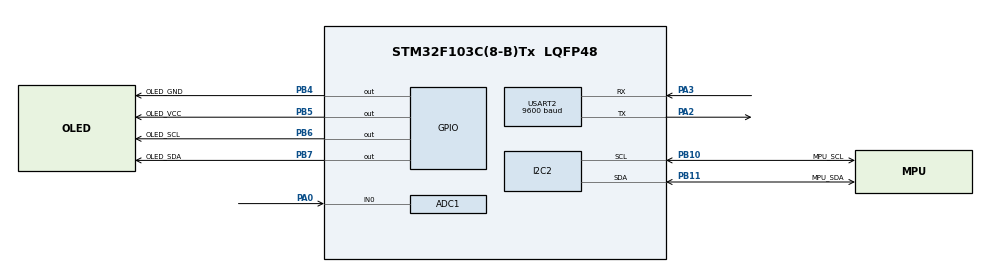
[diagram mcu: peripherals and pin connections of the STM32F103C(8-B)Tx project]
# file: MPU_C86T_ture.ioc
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ADC1.Channel-0\#ChannelRegularConversion=ADC_CHANNEL_0
ADC1.ContinuousConvMode=DISABLE
ADC1.NbrOfConversionFlag=1
ADC1.Rank-0\#ChannelRegularConversion=1
ADC1.SamplingTime-0\#ChannelRegularConversion=ADC_SAMPLETIME_1CYCLE_5
ADC1.master=1
Dma.ADC1.0.Direction=DMA_PERIPH_TO_MEMORY
Dma.ADC1.0.Instance=DMA1_Channel1
Dma.ADC1.0.MemDataAlignment=DMA_MDATAALIGN_HALFWORD
Dma.ADC1.0.MemInc=DMA_MINC_DISABLE
Dma.ADC1.0.Mode=DMA_CIRCULAR
Dma.ADC1.0.PeriphDataAlignment=DMA_PDATAALIGN_HALFWORD
Dma.ADC1.0.PeriphInc=DMA_PINC_DISABLE
Dma.ADC1.0.Priority=DMA_PRIORITY_LOW
Dma.Request0=ADC1
FREERTOS.BinarySemaphores01=myBinarySem01,Dynamic,NULL,Available
FREERTOS.CountingSemaphores01=myCountingSem01,2,Dynamic,NULL,0
FREERTOS.Mutexes01=OLED_State,Dynamic,NULL,Available;myMutex02,Dynamic,NULL,Available
FREERTOS.Queues01=myQueue01,1,uint16_t,0,Dynamic,NULL,NULL
FREERTOS.Tasks01=defaultTask,24,128,StartDefaultTask,Default,NULL,Dynamic,NULL,NULL;myTask02,24,128,StartTask02,Default,NULL,Dynamic,NULL,NULL;myTask03,8,128,StartTask03,Default,NULL,Dynamic,NULL,NULL
I2C2.I2C_Mode=I2C_Fast
Mcu.Family=STM32F1
Mcu.Name=STM32F103C(8-B)Tx
Mcu.Package=LQFP48
NVIC.DMA1_Channel1_IRQn=true\:5\:0\:false\:false\:true\:true\:false\:true\:true
NVIC.PriorityGroup=NVIC_PRIORITYGROUP_4
NVIC.TIM1_UP_IRQn=true\:15\:0\:false\:false\:true\:false\:false\:true\:true
NVIC.TimeBase=TIM1_UP_IRQn
NVIC.TimeBaseIP=TIM1
PA0-WKUP.Signal=ADCx_IN0
PA13.Mode=Serial_Wire
PA13.Signal=SYS_JTMS-SWDIO
PA14.Mode=Serial_Wire
PA14.Signal=SYS_JTCK-SWCLK
PA2.Mode=Asynchronous
PA2.Signal=USART2_TX
PA3.Mode=Asynchronous
PA3.Signal=USART2_RX
PB10.GPIO_Label=MPU_SCL
PB10.GPIO_Speed=GPIO_SPEED_FREQ_HIGH
PB10.Mode=I2C
PB10.Signal=I2C2_SCL
PB11.GPIO_Label=MPU_SDA
PB11.Mode=I2C
PB11.Signal=I2C2_SDA
PB4.GPIO_Label=OLED_GND
PB4.PinState=GPIO_PIN_RESET
PB4.Signal=GPIO_Output
PB5.GPIO_Label=OLED_VCC
PB5.PinState=GPIO_PIN_SET
PB5.Signal=GPIO_Output
PB6.GPIO_Label=OLED_SCL
PB6.GPIO_ModeDefaultOutputPP=GPIO_MODE_OUTPUT_OD
PB6.GPIO_PuPd=GPIO_NOPULL
PB6.PinState=GPIO_PIN_SET
PB6.Signal=GPIO_Output
PB7.GPIO_Label=OLED_SDA
PB7.GPIO_ModeDefaultOutputPP=GPIO_MODE_OUTPUT_OD
PB7.GPIO_PuPd=GPIO_NOPULL
PB7.PinState=GPIO_PIN_SET
PB7.Signal=GPIO_Output
PD0-OSC_IN.Mode=HSE-External-Oscillator
PD0-OSC_IN.Signal=RCC_OSC_IN
PD1-OSC_OUT.Mode=HSE-External-Oscillator
PD1-OSC_OUT.Signal=RCC_OSC_OUT
ProjectManager.HeapSize=0x200
ProjectManager.StackSize=0x400
ProjectManager.TargetToolchain=MDK-ARM V5
RCC.APB1Freq_Value=8000000
RCC.APB2Freq_Value=8000000
SH.ADCx_IN0.0=ADC1_IN0,IN0
USART2.BaudRate=9600
USART2.VirtualMode=VM_ASYNC
VP_FREERTOS_VS_CMSIS_V2.Mode=CMSIS_V2
VP_SYS_VS_tim1.Mode=TIM1
board=custom

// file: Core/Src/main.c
/* USER CODE BEGIN Header */
/**
  ******************************************************************************
  * @file           : main.c
  * @brief          : Main program body
  ******************************************************************************
  * @attention
  *
  * Copyright (c) 2026 STMicroelectronics.
  * All rights reserved.
  *
  * This software is licensed under terms that can be found in the LICENSE file
  * in the root directory of this software component.
  * If no LICENSE file comes with this software, it is provided AS-IS.
  *
  ******************************************************************************
  */
/* USER CODE END Header */
#include "main.h"
#include "cmsis_os.h"
#include "adc.h"
#include "dma.h"
#include "i2c.h"
#include "usart.h"
#include "gpio.h"

/* USER CODE BEGIN Includes */
#include "OLED.h"
#include "IIC_Hardware.h"
#include <stdio.h>
#include <math.h>
/* USER CODE END Includes */

/* USER CODE BEGIN PM */
uint32_t a=1,b=5;
char ch_library[4][16] __attribute__((aligned(32))) = {0};//
int fputc(int ch, FILE *f){
  uint8_t temp[1] = {ch};
  HAL_UART_Transmit(&huart2, temp, 1, 0);
	if(ch=='\n'){
		if(a!=1){
			a=15;
		}else{
			a=0;
		}
	}else{
		ch_library[(b-1)%4][a-1]=ch;
		OLED_ShowChar(4,a,(char)ch);
	}
	if(a<15){
		a++;
	}else{
		OLED_Clear();
		b++;
		for(a=0;a<=15;a++){
			ch_library[(b-1)%4][a]=0;
		}
		a=1;
	}
	if(a==1){
		OLED_ShowString(1,1,ch_library[(b)%4]);
		OLED_ShowString(2,1,ch_library[(b+1)%4]);
		OLED_ShowString(3,1,ch_library[(b+2)%4]);
	}
		HAL_Delay(10);
    return ch;
}
/* USER CODE END PM */

/* USER CODE BEGIN PV */
typedef union{
	struct
	{
		uint8_t Lbyte;
		uint8_t Hbyte;
	}unite;
	int16_t total;
}Halfworld;
/* USER CODE END PV */

void SystemClock_Config(void);
void MX_FREERTOS_Init(void);

int main(void)
{

  /* MCU Configuration--------------------------------------------------------*/

  /* Reset of all peripherals, Initializes the Flash interface and the Systick. */
  HAL_Init();

  /* Configure the system clock */
  SystemClock_Config();

  /* Initialize all configured peripherals */
  MX_GPIO_Init();
  MX_DMA_Init();
  MX_I2C2_Init();
  MX_USART2_UART_Init();
  MX_ADC1_Init();
  /* USER CODE BEGIN 2 */
	OLED_Init();
	IIC1_Init();
  /* USER CODE END 2 */

  /* Init scheduler */
  osKernelInitialize();  /* Call init function for freertos objects (in cmsis_os2.c) */
  MX_FREERTOS_Init();

  /* Start scheduler */
  osKernelStart();

  /* We should never get here as control is now taken by the scheduler */

  /* Infinite loop */
  /* USER CODE BEGIN WHILE */
	OLED_Clear();
  while (1)
  {
    /* USER CODE END WHILE */

  }
}

void SystemClock_Config(void)
{
  RCC_OscInitTypeDef RCC_OscInitStruct = {0};
  RCC_ClkInitTypeDef RCC_ClkInitStruct = {0};
  RCC_PeriphCLKInitTypeDef PeriphClkInit = {0};

  /** Initializes the RCC Oscillators according to the specified parameters
  * in the RCC_OscInitTypeDef structure.
  */
  RCC_OscInitStruct.OscillatorType = RCC_OSCILLATORTYPE_HSI;
  RCC_OscInitStruct.HSIState = RCC_HSI_ON;
  RCC_OscInitStruct.HSICalibrationValue = RCC_HSICALIBRATION_DEFAULT;
  RCC_OscInitStruct.PLL.PLLState = RCC_PLL_NONE;
  if (HAL_RCC_OscConfig(&RCC_OscInitStruct) != HAL_OK)
  {
    Error_Handler();
  }

  /** Initializes the CPU, AHB and APB buses clocks
  */
  RCC_ClkInitStruct.ClockType = RCC_CLOCKTYPE_HCLK|RCC_CLOCKTYPE_SYSCLK
                              |RCC_CLOCKTYPE_PCLK1|RCC_CLOCKTYPE_PCLK2;
  RCC_ClkInitStruct.SYSCLKSource = RCC_SYSCLKSOURCE_HSI;
  RCC_ClkInitStruct.AHBCLKDivider = RCC_SYSCLK_DIV1;
  RCC_ClkInitStruct.APB1CLKDivider = RCC_HCLK_DIV1;
  RCC_ClkInitStruct.APB2CLKDivider = RCC_HCLK_DIV1;

  if (HAL_RCC_ClockConfig(&RCC_ClkInitStruct, FLASH_LATENCY_0) != HAL_OK)
  {
    Error_Handler();
  }
  PeriphClkInit.PeriphClockSelection = RCC_PERIPHCLK_ADC;
  PeriphClkInit.AdcClockSelection = RCC_ADCPCLK2_DIV2;
  if (HAL_RCCEx_PeriphCLKConfig(&PeriphClkInit) != HAL_OK)
  {
    Error_Handler();
  }
}

void HAL_TIM_PeriodElapsedCallback(TIM_HandleTypeDef *htim)
{
  if (htim->Instance == TIM1)
  {
    HAL_IncTick();
  }
}

void Error_Handler(void)
{
  __disable_irq();
  while (1)
  {
  }
}

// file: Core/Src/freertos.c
/* USER CODE BEGIN Header */
/**
  ******************************************************************************
  * File Name          : freertos.c
  * Description        : Code for freertos applications
  ******************************************************************************
  * @attention
  *
  * Copyright (c) 2026 STMicroelectronics.
  * All rights reserved.
  *
  * This software is licensed under terms that can be found in the LICENSE file
  * in the root directory of this software component.
  * If no LICENSE file comes with this software, it is provided AS-IS.
  *
  ******************************************************************************
  */
/* USER CODE END Header */

#include "FreeRTOS.h"
#include "task.h"
#include "main.h"
#include "cmsis_os.h"

/* USER CODE BEGIN Includes */
#include "semphr.h"
#include "OLED.h"
#include "IIC_Hardware.h"
#include <stdio.h>
#include <math.h>
#include "adc.h"
#include "dma.h"
/* USER CODE END Includes */

/* Definitions for defaultTask */
osThreadId_t defaultTaskHandle;
const osThreadAttr_t defaultTask_attributes = {
  .name = "defaultTask",
  .stack_size = 128 * 4,
  .priority = (osPriority_t) osPriorityNormal,
};
/* Definitions for myTask02 */
osThreadId_t myTask02Handle;
const osThreadAttr_t myTask02_attributes = {
  .name = "myTask02",
  .stack_size = 128 * 4,
  .priority = (osPriority_t) osPriorityNormal,
};
/* Definitions for myTask03 */
osThreadId_t myTask03Handle;
const osThreadAttr_t myTask03_attributes = {
  .name = "myTask03",
  .stack_size = 128 * 4,
  .priority = (osPriority_t) osPriorityLow,
};
/* Definitions for myQueue01 */
osMessageQueueId_t myQueue01Handle;
const osMessageQueueAttr_t myQueue01_attributes = {
  .name = "myQueue01"
};
/* Definitions for OLED_State */
osMutexId_t OLED_StateHandle;
const osMutexAttr_t OLED_State_attributes = {
  .name = "OLED_State"
};
/* Definitions for myMutex02 */
osMutexId_t myMutex02Handle;
const osMutexAttr_t myMutex02_attributes = {
  .name = "myMutex02"
};
/* Definitions for myBinarySem01 */
osSemaphoreId_t myBinarySem01Handle;
const osSemaphoreAttr_t myBinarySem01_attributes = {
  .name = "myBinarySem01"
};
/* Definitions for myCountingSem01 */
osSemaphoreId_t myCountingSem01Handle;
const osSemaphoreAttr_t myCountingSem01_attributes = {
  .name = "myCountingSem01"
};

void StartDefaultTask(void *argument);
void StartTask02(void *argument);
void StartTask03(void *argument);

void MX_FREERTOS_Init(void); /* (MISRA C 2004 rule 8.1) */

void MX_FREERTOS_Init(void) {
  /* Create the mutex(es) */
  /* creation of OLED_State */
  OLED_StateHandle = osMutexNew(&OLED_State_attributes);

  /* creation of myMutex02 */
  myMutex02Handle = osMutexNew(&myMutex02_attributes);

  /* Create the semaphores(s) */
  /* creation of myBinarySem01 */
  myBinarySem01Handle = osSemaphoreNew(1, 1, &myBinarySem01_attributes);

  /* creation of myCountingSem01 */
  myCountingSem01Handle = osSemaphoreNew(2, 0, &myCountingSem01_attributes);

  /* Create the queue(s) */
  /* creation of myQueue01 */
  myQueue01Handle = osMessageQueueNew (1, sizeof(uint16_t), &myQueue01_attributes);

  /* Create the thread(s) */
  /* creation of defaultTask */
  defaultTaskHandle = osThreadNew(StartDefaultTask, NULL, &defaultTask_attributes);

  /* creation of myTask02 */
  myTask02Handle = osThreadNew(StartTask02, NULL, &myTask02_attributes);

  /* creation of myTask03 */
  myTask03Handle = osThreadNew(StartTask03, NULL, &myTask03_attributes);

}

void StartDefaultTask(void *argument)
{
  for(;;)
  {
    osDelay(1);
  }
}

void StartTask02(void *argument)
{
  /* USER CODE BEGIN StartTask02 */
  typedef union{
	  struct {
		  uint8_t Lbyte;
		  uint8_t Hbyte;
	  }unite;
	  int16_t total;
  }Halfworld;
  Halfworld X;
  Halfworld Y;
  Halfworld Z;
  int a=0;
  uint32_t data=0;
  /* Infinite loop */
  for(;;)
  {
    xSemaphoreTake(myBinarySem01Handle,portMAX_DELAY);
    for(a=0;a<=50;a++)
    {
      X.unite.Hbyte=IIC1_ReadByte(MPU_6050_DEVICES_ADDRESS,MPU_6050_ACCEL_XOUT_H);
      X.unite.Lbyte=IIC1_ReadByte(MPU_6050_DEVICES_ADDRESS,MPU_6050_ACCEL_XOUT_L);
      Y.unite.Hbyte=IIC1_ReadByte(MPU_6050_DEVICES_ADDRESS,MPU_6050_ACCEL_YOUT_H);
      Y.unite.Lbyte=IIC1_ReadByte(MPU_6050_DEVICES_ADDRESS,MPU_6050_ACCEL_YOUT_L);
      Z.unite.Hbyte=IIC1_ReadByte(MPU_6050_DEVICES_ADDRESS,MPU_6050_ACCEL_ZOUT_H);
      Z.unite.Lbyte=IIC1_ReadByte(MPU_6050_DEVICES_ADDRESS,MPU_6050_ACCEL_ZOUT_L);
		  OLED_Horizon(X.total,Y.total,Z.total);
      //HAL_ADC_Start_DMA(&hadc1,&data,1);
      //printf("Z:%d\n",Z.total);
      //printf("%d\n",data);
    }
    //OLED_Clear();
    xSemaphoreGive(myBinarySem01Handle);
    vTaskDelay(1);
  }
  /* USER CODE END StartTask02 */
}

void StartTask03(void *argument)
{
  /* USER CODE BEGIN StartTask03 */
  /* Infinite loop */
  for(;;)
  {
    // xSemaphoreTake(myBinarySem01Handle,portMAX_DELAY);
    // printf("Something\n");
    // HAL_Delay(1000);
    // OLED_Clear();
    // //vTaskSuspend(myTask02Handle);
    // xSemaphoreGive(myBinarySem01Handle);

    // vTaskDelay(1);
    osDelay(1);
  }
  /* USER CODE END StartTask03 */
}
